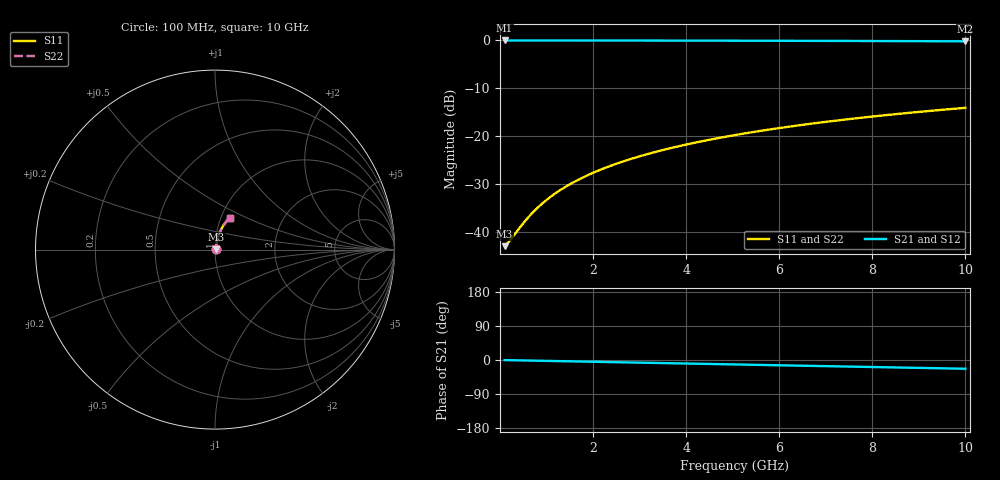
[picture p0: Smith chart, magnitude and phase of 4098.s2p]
# Hz S RI R 50.00
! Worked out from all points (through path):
!   100 points, 100 MHz to 10 GHz, reference 50 ohm
!   highest |S21| = -0.06 dB at 100 MHz (marker M1); lowest = -0.2 dB at 10 GHz (marker M2)
!   group delay of S21, straight-line fit = 6.41 ps
!   lowest |S11| = -42.9 dB at 100 MHz (marker M3), VSWR 1.01, Z = 50.7 + j0.205 ohm
!   |S11| at or under -10 dB: start of sweep to end of sweep
!   |S22| runs from -42.9 to -14.1 dB; largest |S21 - S12| = 0
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1e8  0.00687 0.00202  0.9931 -0.00404  0.9931 -0.00404  0.00687 0.00202
2e8  0.00694 0.00405  0.993 -0.00808  0.993 -0.00808  0.00694 0.00405
5e8  0.0072 0.0101  0.9927 -0.0202  0.9927 -0.0202  0.0072 0.0101
6e8  0.00731 0.0121  0.9926 -0.0242  0.9926 -0.0242  0.00731 0.0121
7e8  0.00743 0.0141  0.9925 -0.0283  0.9925 -0.0283  0.00743 0.0141
9e8  0.00773 0.0182  0.9921 -0.0363  0.9921 -0.0363  0.00773 0.0182
1.1e9  0.00808 0.0222  0.9916 -0.0444  0.9916 -0.0444  0.00808 0.0222
1.3e9  0.0085 0.0262  0.9911 -0.0524  0.9911 -0.0524  0.0085 0.0262
1.5e9  0.00898 0.0302  0.9905 -0.0605  0.9905 -0.0605  0.00898 0.0302
1.8e9  0.00982 0.0362  0.9895 -0.0725  0.9895 -0.0725  0.00982 0.0362
2.1e9  0.0108 0.0422  0.9883 -0.0846  0.9883 -0.0846  0.0108 0.0422
2.5e9  0.0123 0.0502  0.9863 -0.1006  0.9863 -0.1006  0.0123 0.0502
2.9e9  0.0141 0.058  0.9841 -0.1165  0.9841 -0.1165  0.0141 0.058
3.4e9  0.0167 0.0678  0.9809 -0.1364  0.9809 -0.1364  0.0167 0.0678
3.8e9  0.0191 0.0755  0.9779 -0.1521  0.9779 -0.1521  0.0191 0.0755
4.2e9  0.0217 0.0831  0.9746 -0.1678  0.9746 -0.1678  0.0217 0.0831
5.1e9  0.0284 0.0998  0.9662 -0.2028  0.9662 -0.2028  0.0284 0.0998
5.9e9  0.0354 0.1142  0.9574 -0.2334  0.9574 -0.2334  0.0354 0.1142
6.7e9  0.0432 0.1281  0.9474 -0.2635  0.9474 -0.2635  0.0432 0.1281
7.5e9  0.0519 0.1415  0.9363 -0.2931  0.9363 -0.2931  0.0519 0.1415
8.4e9  0.0627 0.1557  0.9226 -0.3256  0.9226 -0.3256  0.0627 0.1557
1e10  0.084 0.1788  0.895 -0.3813  0.895 -0.3813  0.084 0.1788
